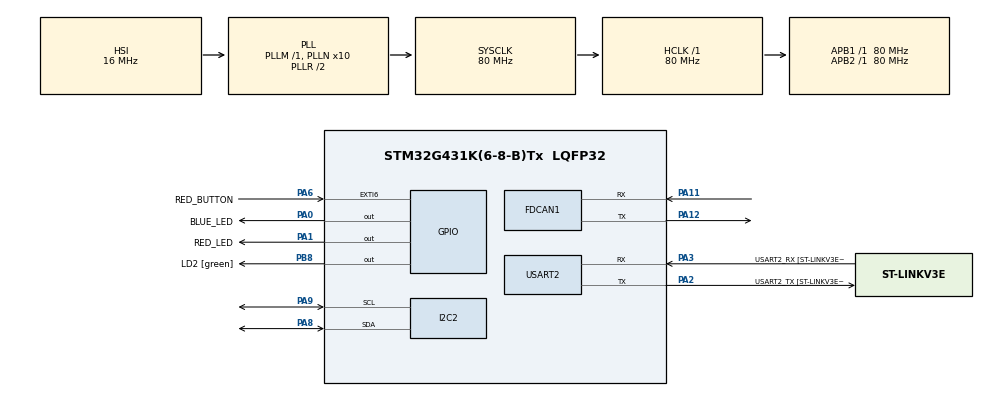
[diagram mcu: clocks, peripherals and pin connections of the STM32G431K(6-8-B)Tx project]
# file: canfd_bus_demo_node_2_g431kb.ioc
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FDCAN1.AutoRetransmission=ENABLE
FDCAN1.CalculateBaudRateNominal=500000
FDCAN1.CalculateTimeBitNominal=2000
FDCAN1.CalculateTimeQuantumNominal=25.0
FDCAN1.DataPrescaler=2
FDCAN1.DataSyncJumpWidth=4
FDCAN1.DataTimeSeg1=15
FDCAN1.DataTimeSeg2=4
FDCAN1.FrameFormat=FDCAN_FRAME_FD_BRS
FDCAN1.NominalPrescaler=2
FDCAN1.NominalSyncJumpWidth=16
FDCAN1.NominalTimeSeg1=63
FDCAN1.NominalTimeSeg2=16
FDCAN1.StdFiltersNbr=1
I2C2.Timing=0x10D19CE4
Mcu.Family=STM32G4
Mcu.Name=STM32G431K(6-8-B)Tx
Mcu.Package=LQFP32
NVIC.EXTI9_5_IRQn=true\:0\:0\:false\:false\:true\:true\:true\:true
NVIC.FDCAN1_IT0_IRQn=true\:0\:0\:false\:false\:true\:true\:true\:true
NVIC.PriorityGroup=NVIC_PRIORITYGROUP_4
PA0.GPIO_Label=BLUE_LED
PA0.Signal=GPIO_Output
PA1.GPIO_Label=RED_LED
PA1.Signal=GPIO_Output
PA11.Mode=FDCAN_Activate
PA11.Signal=FDCAN1_RX
PA12.Mode=FDCAN_Activate
PA12.Signal=FDCAN1_TX
PA13.GPIO_Label=T_SWDIO
PA13.Mode=Serial_Wire
PA13.Signal=SYS_JTMS-SWDIO
PA14.GPIO_Label=T_SWCLK
PA14.Mode=Serial_Wire
PA14.Signal=SYS_JTCK-SWCLK
PA2.GPIO_Label=USART2_TX [ST-LINKV3E_VCP_RX]
PA2.Mode=Asynchronous
PA2.Signal=USART2_TX
PA3.GPIO_Label=USART2_RX [ST-LINKV3E_VCP_TX]
PA3.Mode=Asynchronous
PA3.Signal=USART2_RX
PA6.GPIO_Label=RED_BUTTON
PA6.GPIO_ModeDefaultEXTI=GPIO_MODE_IT_FALLING
PA6.GPIO_PuPd=GPIO_PULLUP
PA6.Signal=GPXTI6
PA8.Mode=I2C
PA8.Signal=I2C2_SDA
PA9.Mode=I2C
PA9.Signal=I2C2_SCL
PB3.GPIO_Label=T_SWO
PB3.Signal=SYS_JTDO-SWO
PB8-BOOT0.GPIO_Label=LD2 [green]
PB8-BOOT0.Signal=GPIO_Output
ProjectManager.HeapSize=0x200
ProjectManager.StackSize=0x400
ProjectManager.TargetToolchain=STM32CubeIDE
RCC.ADC12Freq_Value=80000000
RCC.AHBFreq_Value=80000000
RCC.APB1Freq_Value=80000000
RCC.APB1TimFreq_Value=80000000
RCC.APB2Freq_Value=80000000
RCC.APB2TimFreq_Value=80000000
RCC.CortexFreq_Value=80000000
RCC.EXTERNAL_CLOCK_VALUE=12288000
RCC.HCLKFreq_Value=80000000
RCC.HSE_VALUE=8000000
RCC.HSI48_VALUE=48000000
RCC.HSI_VALUE=16000000
RCC.LSE_VALUE=32768
RCC.PLLN=10
RCC.SYSCLKFreq_VALUE=80000000
RCC.SYSCLKSource=RCC_SYSCLKSOURCE_PLLCLK
RCC.USBFreq_Value=80000000
RCC.VCOOutputFreq_Value=160000000
USART2.VirtualMode-Asynchronous=VM_ASYNC
USART2.WordLength=WORDLENGTH_8B
VP_SYS_VS_DBSignals.Mode=DisableDeadBatterySignals
board=NUCLEO-G431KB

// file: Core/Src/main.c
/* USER CODE BEGIN Header */
/**
 ******************************************************************************
 * @file           : main.c
 * @brief          : Main program body
 ******************************************************************************
 * @attention
 *
 * Copyright (c) 2024 STMicroelectronics.
 * All rights reserved.
 *
 * This software is licensed under terms that can be found in the LICENSE file
 * in the root directory of this software component.
 * If no LICENSE file comes with this software, it is provided AS-IS.
 *
 ******************************************************************************
 */
/* USER CODE END Header */
#include "main.h"
#include "fdcan.h"
#include "i2c.h"
#include "usart.h"
#include "gpio.h"

/* USER CODE BEGIN Includes */
#include <stdio.h>
#include <string.h>
#include "ssd1306.h"
/* USER CODE END Includes */

/* USER CODE BEGIN PV */
FDCAN_RxHeaderTypeDef rxHeader;
uint8_t rxData[64];
uint8_t msg_rx_flag = 0;
uint32_t msg_count = 0;
char lcd_line[64];

uint8_t red_button_flag = 0;
/* USER CODE END PV */

void SystemClock_Config(void);

int main(void)
{

	/* MCU Configuration--------------------------------------------------------*/

	/* Reset of all peripherals, Initializes the Flash interface and the Systick. */
	HAL_Init();

	/* Configure the system clock */
	SystemClock_Config();

	/* Initialize all configured peripherals */
	MX_GPIO_Init();
	MX_USART2_UART_Init();
	MX_FDCAN1_Init();
	MX_I2C2_Init();
	/* USER CODE BEGIN 2 */

	HAL_GPIO_WritePin(RED_LED_GPIO_Port, RED_LED_Pin, GPIO_PIN_RESET);

	ssd1306_Init();
	ssd1306_Fill(Black);
	ssd1306_SetCursor(20, 5);
	ssd1306_WriteString("ufnalski.edu.pl", Font_6x8, White);
	ssd1306_SetCursor(10, 17);
	ssd1306_WriteString("FD CAN demo node B", Font_6x8, White);
	ssd1306_UpdateScreen();

	HAL_FDCAN_ConfigGlobalFilter(&hfdcan1, FDCAN_REJECT, FDCAN_REJECT,
	FDCAN_REJECT_REMOTE, FDCAN_REJECT_REMOTE);

	if (HAL_FDCAN_Start(&hfdcan1) != HAL_OK)
	{
		Error_Handler();
	}

	if (HAL_FDCAN_ActivateNotification(&hfdcan1, FDCAN_IT_RX_FIFO0_NEW_MESSAGE,
			0) != HAL_OK)
	{
		Error_Handler();
	}
	/* USER CODE END 2 */

	/* Infinite loop */
	/* USER CODE BEGIN WHILE */
	while (1)
	{

		if (msg_rx_flag == 1)
		{
			msg_rx_flag = 0;

			ssd1306_SetCursor(2, 30);
			ssd1306_WriteString("RX (0.5 / 2 Mbit/s):", Font_6x8, White);
			sprintf(lcd_line, "Data length code: %lu", rxHeader.DataLength);
			ssd1306_SetCursor(2, 42);
			ssd1306_WriteString(lcd_line, Font_6x8, White);
			sprintf(lcd_line, "Message count: %lu", msg_count);
			ssd1306_SetCursor(2, 54);
			ssd1306_WriteString(lcd_line, Font_6x8, White);
			ssd1306_UpdateScreen();
		}
		/* USER CODE END WHILE */

	}
}

void SystemClock_Config(void)
{
	RCC_OscInitTypeDef RCC_OscInitStruct =
	{ 0 };
	RCC_ClkInitTypeDef RCC_ClkInitStruct =
	{ 0 };

	/** Configure the main internal regulator output voltage
	 */
	HAL_PWREx_ControlVoltageScaling(PWR_REGULATOR_VOLTAGE_SCALE1);

	/** Initializes the RCC Oscillators according to the specified parameters
	 * in the RCC_OscInitTypeDef structure.
	 */
	RCC_OscInitStruct.OscillatorType = RCC_OSCILLATORTYPE_HSI;
	RCC_OscInitStruct.HSIState = RCC_HSI_ON;
	RCC_OscInitStruct.HSICalibrationValue = RCC_HSICALIBRATION_DEFAULT;
	RCC_OscInitStruct.PLL.PLLState = RCC_PLL_ON;
	RCC_OscInitStruct.PLL.PLLSource = RCC_PLLSOURCE_HSI;
	RCC_OscInitStruct.PLL.PLLM = RCC_PLLM_DIV1;
	RCC_OscInitStruct.PLL.PLLN = 10;
	RCC_OscInitStruct.PLL.PLLP = RCC_PLLP_DIV2;
	RCC_OscInitStruct.PLL.PLLQ = RCC_PLLQ_DIV2;
	RCC_OscInitStruct.PLL.PLLR = RCC_PLLR_DIV2;
	if (HAL_RCC_OscConfig(&RCC_OscInitStruct) != HAL_OK)
	{
		Error_Handler();
	}

	/** Initializes the CPU, AHB and APB buses clocks
	 */
	RCC_ClkInitStruct.ClockType = RCC_CLOCKTYPE_HCLK | RCC_CLOCKTYPE_SYSCLK
			| RCC_CLOCKTYPE_PCLK1 | RCC_CLOCKTYPE_PCLK2;
	RCC_ClkInitStruct.SYSCLKSource = RCC_SYSCLKSOURCE_PLLCLK;
	RCC_ClkInitStruct.AHBCLKDivider = RCC_SYSCLK_DIV1;
	RCC_ClkInitStruct.APB1CLKDivider = RCC_HCLK_DIV1;
	RCC_ClkInitStruct.APB2CLKDivider = RCC_HCLK_DIV1;

	if (HAL_RCC_ClockConfig(&RCC_ClkInitStruct, FLASH_LATENCY_2) != HAL_OK)
	{
		Error_Handler();
	}
}

/* USER CODE BEGIN 4 */
void HAL_GPIO_EXTI_Callback(uint16_t GPIO_Pin)
{
	if (GPIO_Pin == RED_BUTTON_Pin)
	{
		red_button_flag = 1;
	}
}

void HAL_FDCAN_RxFifo0Callback(FDCAN_HandleTypeDef *hfdcan, uint32_t RxFifo0ITs)
{
	if ((RxFifo0ITs & FDCAN_IT_RX_FIFO0_NEW_MESSAGE) != RESET)
	{
		/* Retreive Rx messages from RX FIFO0 */
		if (HAL_FDCAN_GetRxMessage(hfdcan, FDCAN_RX_FIFO0, &rxHeader, rxData)
				!= HAL_OK)
		{
			Error_Handler();
		}
		else
		{
			msg_rx_flag = 1;
			msg_count++;
		}

		HAL_GPIO_TogglePin(BLUE_LED_GPIO_Port, BLUE_LED_Pin);
	}
}
/* USER CODE END 4 */

void Error_Handler(void)
{
	/* USER CODE BEGIN Error_Handler_Debug */
	/* User can add his own implementation to report the HAL error return state */
	__disable_irq();
	HAL_GPIO_WritePin(RED_LED_GPIO_Port, RED_LED_Pin, GPIO_PIN_RESET);
	while (1)
	{
	}
	/* USER CODE END Error_Handler_Debug */
}
